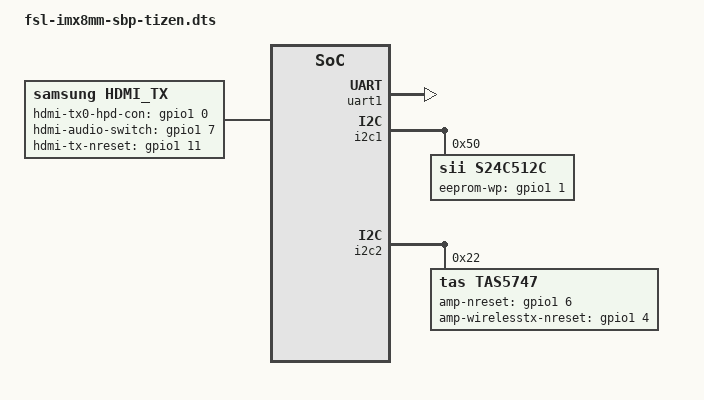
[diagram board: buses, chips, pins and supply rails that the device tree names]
/*
 * Copyright 2019 NXP
 *
 * This program is free software; you can redistribute it and/or
 * modify it under the terms of the GNU General Public License
 * as published by the Free Software Foundation; either version 2
 * of the License, or (at your option) any later version.
 *
 * This program is distributed in the hope that it will be useful,
 * but WITHOUT ANY WARRANTY; without even the implied warranty of
 * MERCHANTABILITY or FITNESS FOR A PARTICULAR PURPOSE.  See the
 * GNU General Public License for more details.
 */

#include "fsl-imx8mm-sbp-af.dts"

/ {
	tztv_kfactory {
		compatible = "samsung,tztv-kfactory";
		status = "okay";
	};

        tztv_system {
                compatible = "samsung,tztv-system";
		status = "okay";
	};

	tzav_jackident {
		compatible = "samsung,tzav-jackident";
		status = "okay";
	};
	
	hdmi_tx {
		compatible = "samsung,hdmi_tx";
		samsung,hdmi-tx0-hpd-con = <&gpio1 0 GPIO_ACTIVE_HIGH>;
		samsung,hdmi-audio-switch = <&gpio1 7 GPIO_ACTIVE_HIGH>;
		samsung,hdmi-tx-nreset = <&gpio1 11 GPIO_ACTIVE_HIGH>;
		status = "okay";
	};
};

&uart1 { /* micom */
	compatible = "samsung,uart-micom";
	pinctrl-names = "default";
	pinctrl-0 = <&pinctrl_uart1>;
	status = "okay";
};

&i2c1 {
	s24c512c@50 {
		compatible = "sii,s24c512c";
		pinctrl-0 = <&pinctrl_eeprom_wp>;
		reg = <0x50>;
		samsung,eeprom-wp = <&gpio1 1 GPIO_ACTIVE_HIGH>;
		status = "okay";
	};
};

&i2c2 {
	tas5747@22 {
		compatible = "tas,tas5747";
		reg = <0x22>;
		samsung,amp-nreset = <&gpio1 6 GPIO_ACTIVE_HIGH>;
		samsung,amp-wirelesstx-nreset = <&gpio1 4 GPIO_ACTIVE_HIGH>;
	};
};
